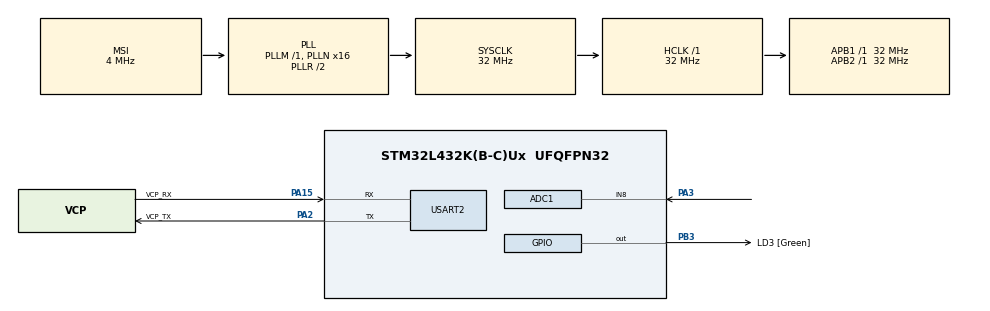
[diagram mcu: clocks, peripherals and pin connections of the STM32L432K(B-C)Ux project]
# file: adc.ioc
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ADC1.Channel-0\#ChannelRegularConversion=ADC_CHANNEL_8
ADC1.NbrOfConversionFlag=1
ADC1.OffsetNumber-0\#ChannelRegularConversion=ADC_OFFSET_NONE
ADC1.Rank-0\#ChannelRegularConversion=1
ADC1.SamplingTime-0\#ChannelRegularConversion=ADC_SAMPLETIME_2CYCLES_5
ADC1.master=1
Mcu.Family=STM32L4
Mcu.Name=STM32L432K(B-C)Ux
Mcu.Package=UFQFPN32
NVIC.PriorityGroup=NVIC_PRIORITYGROUP_4
PA0.GPIO_Label=MCO [High speed clock in]
PA0.Mode=HSE-External-Clock-Source-for-LittleOrca
PA0.Signal=RCC_CK_IN
PA13\ (JTMS-SWDIO).GPIO_Label=SWDIO
PA13\ (JTMS-SWDIO).Mode=Serial_Wire
PA13\ (JTMS-SWDIO).Signal=SYS_JTMS-SWDIO
PA14\ (JTCK-SWCLK).GPIO_Label=SWCLK
PA14\ (JTCK-SWCLK).Mode=Serial_Wire
PA14\ (JTCK-SWCLK).Signal=SYS_JTCK-SWCLK
PA15\ (JTDI).GPIO_Label=VCP_RX
PA15\ (JTDI).Mode=Asynchronous
PA15\ (JTDI).Signal=USART2_RX
PA2.GPIO_Label=VCP_TX
PA2.Mode=Asynchronous
PA2.Signal=USART2_TX
PA3.Signal=ADCx_IN8
PB3\ (JTDO-TRACESWO).GPIO_Label=LD3 [Green]
PB3\ (JTDO-TRACESWO).Signal=GPIO_Output
PC14-OSC32_IN\ (PC14).Mode=LSE-External-Oscillator
PC14-OSC32_IN\ (PC14).Signal=RCC_OSC32_IN
PC15-OSC32_OUT\ (PC15).Mode=LSE-External-Oscillator
PC15-OSC32_OUT\ (PC15).Signal=RCC_OSC32_OUT
ProjectManager.HeapSize=0x200
ProjectManager.StackSize=0x400
ProjectManager.TargetToolchain=Makefile
RCC.ADCFreq_Value=32000000
RCC.AHBFreq_Value=32000000
RCC.APB1Freq_Value=32000000
RCC.APB1TimFreq_Value=32000000
RCC.APB2Freq_Value=32000000
RCC.APB2TimFreq_Value=32000000
RCC.CortexFreq_Value=32000000
RCC.HCLKFreq_Value=32000000
RCC.HSE_VALUE=8000000
RCC.HSI16_VALUE=16000000
RCC.HSI48_VALUE=48000000
RCC.HSI_VALUE=16000000
RCC.MSI_VALUE=4000000
RCC.PLLMUL=RCC_PLLMUL_4
RCC.PLLN=16
RCC.PLLSAI1N=16
RCC.SYSCLKFreq_VALUE=32000000
RCC.SYSCLKSource=RCC_SYSCLKSOURCE_PLLCLK
RCC.USBFreq_Value=32000000
RCC.VCOOutputFreq_Value=64000000
SH.ADCx_IN8.0=ADC1_IN8,IN8-Single-Ended
USART2.VirtualMode-Asynchronous=VM_ASYNC
board=NUCLEO-L432KC

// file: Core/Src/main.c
/* USER CODE BEGIN Header */
/**
  ******************************************************************************
  * @file           : main.c
  * @brief          : Main program body
  ******************************************************************************
  * @attention
  *
  * Copyright (c) 2022 STMicroelectronics.
  * All rights reserved.
  *
  * This software is licensed under terms that can be found in the LICENSE file
  * in the root directory of this software component.
  * If no LICENSE file comes with this software, it is provided AS-IS.
  *
  ******************************************************************************
  */
/* USER CODE END Header */
#include "main.h"

/* USER CODE BEGIN Includes */
#include <stdio.h>
#include <string.h>
/* USER CODE END Includes */

/* USER CODE BEGIN PD */
#define LENGTH 10
/* USER CODE END PD */

ADC_HandleTypeDef hadc1;

UART_HandleTypeDef huart2;

/* USER CODE BEGIN PV */
uint32_t value;
uint16_t time;
char msg[LENGTH];
char str_time[LENGTH];

/* USER CODE END PV */

void SystemClock_Config(void);
static void MX_GPIO_Init(void);
static void MX_ADC1_Init(void);
static void MX_USART2_UART_Init(void);

int main(void)
{

  /* MCU Configuration--------------------------------------------------------*/

  /* Reset of all peripherals, Initializes the Flash interface and the Systick. */
  HAL_Init();

  /* Configure the system clock */
  SystemClock_Config();

  /* Initialize all configured peripherals */
  MX_GPIO_Init();
  MX_ADC1_Init();
  MX_USART2_UART_Init();
  /* USER CODE BEGIN 2 */
  // for(int i; i <=100;i++){

	    //HAL_Delay(1);
  // }
  /* USER CODE END 2 */

  /* Infinite loop */
  /* USER CODE BEGIN WHILE */
  while (1)
  {
    	HAL_ADC_Start(&hadc1);
	    HAL_ADC_PollForConversion(&hadc1, HAL_MAX_DELAY);
	    value = HAL_ADC_GetValue(&hadc1);
	    time = HAL_GetTick();

	    // Convert to string and print
	    sprintf(str_time, "%u\t", time);
	    sprintf(msg, "%li\r\n", value);

	    HAL_UART_Transmit(&huart2,  (uint8_t*)str_time, strlen(str_time), HAL_MAX_DELAY);
	    HAL_UART_Transmit(&huart2, (uint8_t*)msg, strlen(msg), HAL_MAX_DELAY);

	    HAL_Delay(1);

    /* USER CODE END WHILE */

  }
}

void SystemClock_Config(void)
{
  RCC_OscInitTypeDef RCC_OscInitStruct = {0};
  RCC_ClkInitTypeDef RCC_ClkInitStruct = {0};

  /** Configure the main internal regulator output voltage
  */
  if (HAL_PWREx_ControlVoltageScaling(PWR_REGULATOR_VOLTAGE_SCALE1) != HAL_OK)
  {
    Error_Handler();
  }

  /** Configure LSE Drive Capability
  */
  HAL_PWR_EnableBkUpAccess();
  __HAL_RCC_LSEDRIVE_CONFIG(RCC_LSEDRIVE_LOW);

  /** Initializes the RCC Oscillators according to the specified parameters
  * in the RCC_OscInitTypeDef structure.
  */
  RCC_OscInitStruct.OscillatorType = RCC_OSCILLATORTYPE_LSE|RCC_OSCILLATORTYPE_MSI;
  RCC_OscInitStruct.LSEState = RCC_LSE_ON;
  RCC_OscInitStruct.MSIState = RCC_MSI_ON;
  RCC_OscInitStruct.MSICalibrationValue = 0;
  RCC_OscInitStruct.MSIClockRange = RCC_MSIRANGE_6;
  RCC_OscInitStruct.PLL.PLLState = RCC_PLL_ON;
  RCC_OscInitStruct.PLL.PLLSource = RCC_PLLSOURCE_MSI;
  RCC_OscInitStruct.PLL.PLLM = 1;
  RCC_OscInitStruct.PLL.PLLN = 16;
  RCC_OscInitStruct.PLL.PLLP = RCC_PLLP_DIV7;
  RCC_OscInitStruct.PLL.PLLQ = RCC_PLLQ_DIV2;
  RCC_OscInitStruct.PLL.PLLR = RCC_PLLR_DIV2;
  if (HAL_RCC_OscConfig(&RCC_OscInitStruct) != HAL_OK)
  {
    Error_Handler();
  }

  /** Initializes the CPU, AHB and APB buses clocks
  */
  RCC_ClkInitStruct.ClockType = RCC_CLOCKTYPE_HCLK|RCC_CLOCKTYPE_SYSCLK
                              |RCC_CLOCKTYPE_PCLK1|RCC_CLOCKTYPE_PCLK2;
  RCC_ClkInitStruct.SYSCLKSource = RCC_SYSCLKSOURCE_PLLCLK;
  RCC_ClkInitStruct.AHBCLKDivider = RCC_SYSCLK_DIV1;
  RCC_ClkInitStruct.APB1CLKDivider = RCC_HCLK_DIV1;
  RCC_ClkInitStruct.APB2CLKDivider = RCC_HCLK_DIV1;

  if (HAL_RCC_ClockConfig(&RCC_ClkInitStruct, FLASH_LATENCY_1) != HAL_OK)
  {
    Error_Handler();
  }

  /** Enable MSI Auto calibration
  */
  HAL_RCCEx_EnableMSIPLLMode();
}

static void MX_ADC1_Init(void)
{

  ADC_ChannelConfTypeDef sConfig = {0};

  /** Common config
  */
  hadc1.Instance = ADC1;
  hadc1.Init.ClockPrescaler = ADC_CLOCK_ASYNC_DIV1;
  hadc1.Init.Resolution = ADC_RESOLUTION_12B;
  hadc1.Init.DataAlign = ADC_DATAALIGN_RIGHT;
  hadc1.Init.ScanConvMode = ADC_SCAN_DISABLE;
  hadc1.Init.EOCSelection = ADC_EOC_SINGLE_CONV;
  hadc1.Init.LowPowerAutoWait = DISABLE;
  hadc1.Init.ContinuousConvMode = DISABLE;
  hadc1.Init.NbrOfConversion = 1;
  hadc1.Init.DiscontinuousConvMode = DISABLE;
  hadc1.Init.ExternalTrigConv = ADC_SOFTWARE_START;
  hadc1.Init.ExternalTrigConvEdge = ADC_EXTERNALTRIGCONVEDGE_NONE;
  hadc1.Init.DMAContinuousRequests = DISABLE;
  hadc1.Init.Overrun = ADC_OVR_DATA_PRESERVED;
  hadc1.Init.OversamplingMode = DISABLE;
  if (HAL_ADC_Init(&hadc1) != HAL_OK)
  {
    Error_Handler();
  }

  /** Configure Regular Channel
  */
  sConfig.Channel = ADC_CHANNEL_8;
  sConfig.Rank = ADC_REGULAR_RANK_1;
  sConfig.SamplingTime = ADC_SAMPLETIME_2CYCLES_5;
  sConfig.SingleDiff = ADC_SINGLE_ENDED;
  sConfig.OffsetNumber = ADC_OFFSET_NONE;
  sConfig.Offset = 0;
  if (HAL_ADC_ConfigChannel(&hadc1, &sConfig) != HAL_OK)
  {
    Error_Handler();
  }

}

static void MX_USART2_UART_Init(void)
{

  huart2.Instance = USART2;
  huart2.Init.BaudRate = 115200;
  huart2.Init.WordLength = UART_WORDLENGTH_8B;
  huart2.Init.StopBits = UART_STOPBITS_1;
  huart2.Init.Parity = UART_PARITY_NONE;
  huart2.Init.Mode = UART_MODE_TX_RX;
  huart2.Init.HwFlowCtl = UART_HWCONTROL_NONE;
  huart2.Init.OverSampling = UART_OVERSAMPLING_16;
  huart2.Init.OneBitSampling = UART_ONE_BIT_SAMPLE_DISABLE;
  huart2.AdvancedInit.AdvFeatureInit = UART_ADVFEATURE_NO_INIT;
  if (HAL_UART_Init(&huart2) != HAL_OK)
  {
    Error_Handler();
  }

}

static void MX_GPIO_Init(void)
{
  GPIO_InitTypeDef GPIO_InitStruct = {0};

  /* GPIO Ports Clock Enable */
  __HAL_RCC_GPIOC_CLK_ENABLE();
  __HAL_RCC_GPIOA_CLK_ENABLE();
  __HAL_RCC_GPIOB_CLK_ENABLE();

  /*Configure GPIO pin Output Level */
  HAL_GPIO_WritePin(LD3_GPIO_Port, LD3_Pin, GPIO_PIN_RESET);

  /*Configure GPIO pin : LD3_Pin */
  GPIO_InitStruct.Pin = LD3_Pin;
  GPIO_InitStruct.Mode = GPIO_MODE_OUTPUT_PP;
  GPIO_InitStruct.Pull = GPIO_NOPULL;
  GPIO_InitStruct.Speed = GPIO_SPEED_FREQ_LOW;
  HAL_GPIO_Init(LD3_GPIO_Port, &GPIO_InitStruct);

}

void Error_Handler(void)
{
  __disable_irq();
  while (1)
  {
  }
}
